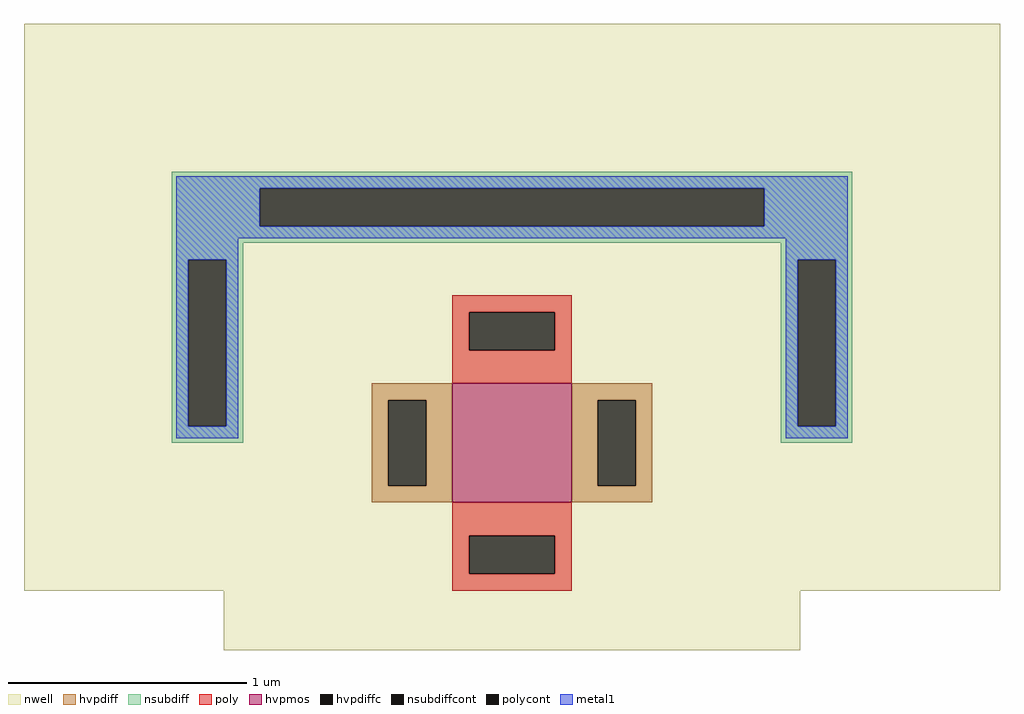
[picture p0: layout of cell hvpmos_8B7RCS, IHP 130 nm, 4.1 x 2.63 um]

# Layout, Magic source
magic
tech ihp-sg13g2
<< nwell >>
rect -205 -62 205 176
rect -121 -87 121 -62
<< hvpmos >>
rect -25 -25 25 25
<< hvpdiff >>
rect -59 18 -25 25
rect -59 -18 -52 18
rect -36 -18 -25 18
rect -59 -25 -25 -18
rect 25 18 59 25
rect 25 -18 36 18
rect 52 -18 59 18
rect 25 -25 59 -18
<< hvpdiffc >>
rect -52 -18 -36 18
rect 36 -18 52 18
<< nsubdiff >>
rect -143 107 143 114
rect -143 91 -106 107
rect 106 91 143 107
rect -143 84 143 91
rect -143 77 -113 84
rect -143 7 -136 77
rect -120 7 -113 77
rect 113 77 143 84
rect -143 0 -113 7
rect 113 7 120 77
rect 136 7 143 77
rect 113 0 143 7
<< nsubdiffcont >>
rect -106 91 106 107
rect -136 7 -120 77
rect 120 7 136 77
<< poly >>
rect -25 55 25 62
rect -25 39 -18 55
rect 18 39 25 55
rect -25 25 25 39
rect -25 -39 25 -25
rect -25 -55 -18 -39
rect 18 -55 25 -39
rect -25 -62 25 -55
<< polycont >>
rect -18 39 18 55
rect -18 -55 18 -39
<< metal1 >>
rect -141 107 141 112
rect -141 91 -106 107
rect 106 91 141 107
rect -141 86 141 91
rect -141 77 -115 86
rect -141 7 -136 77
rect -120 7 -115 77
rect 115 77 141 86
rect -141 2 -115 7
rect 115 7 120 77
rect 136 7 141 77
rect 115 2 141 7
<< properties >>
string gencell hvpmos
string library sg13g2_devstdin
string parameters w 0.5 l 0.5 nf 1 nx 1 dx 0.21 ny 1 dy 0.18 wmin 0.50 lmin 0.50 class mosfet gcontcov_t 100 gcontcov_b 100 dcontcov_l 100 dcontcov_r 100 guard_distf 1 glc 1 grc 1 gtc 1 gbc 0
<< end >>
